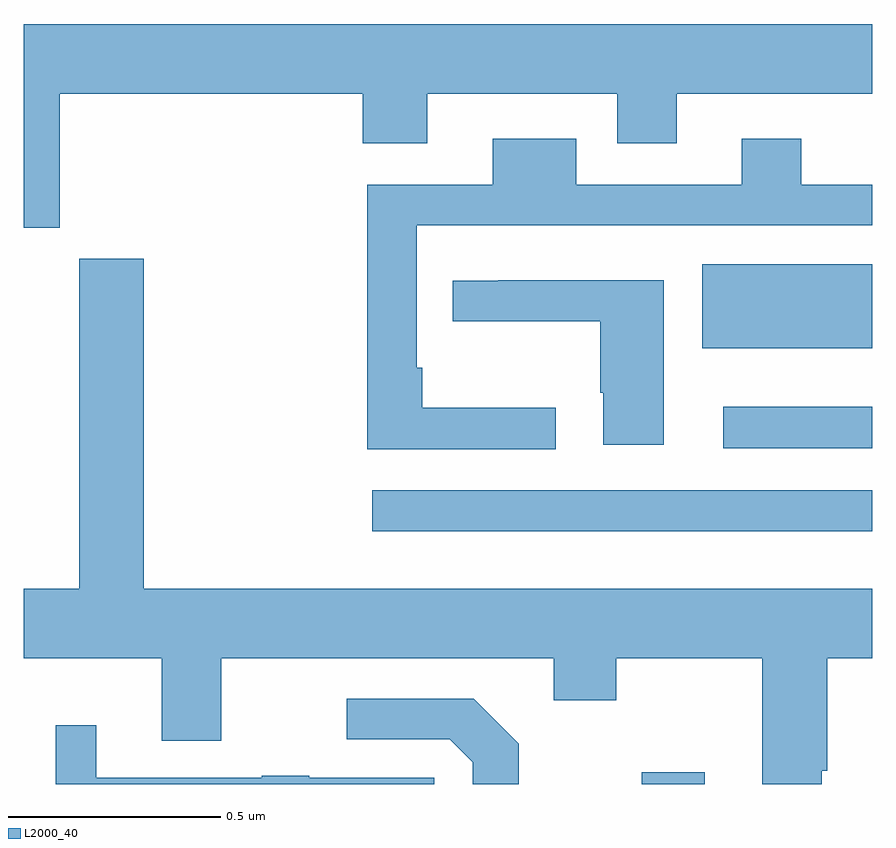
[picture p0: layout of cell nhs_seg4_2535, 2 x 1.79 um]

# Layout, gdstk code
import gdstk
lib = gdstk.Library(unit=1e-6, precision=1e-09)
def R(c, l, rs):  # rectangles x0, y0, x1, y1
    for r in rs: c.add(gdstk.rectangle(r[:2], r[2:], *l))
def P(c, l, *ps):  # polygons
    for p in ps: c.add(gdstk.Polygon(p, *l))
L2000_40 = (2000, 40)

nhs_seg4_2535 = lib.new_cell('nhs_seg4_2535')
R(nhs_seg4_2535, L2000_40, [(143.457,753.9,143.605,753.928), (142.821,754.496,144,754.593), (143.649,754.692,144,754.789), (143.6,754.928,144,755.125)])
P(nhs_seg4_2535, L2000_40, [(142.084,755.528),(142.799,755.528),(142.799,755.411),(142.951,755.411),(142.951,755.528),(143.399,755.528),(143.399,755.411),(143.539,755.411),(143.539,755.528),(144,755.528),(144,755.692),(142,755.692),(142,755.211),(142.084,755.211)],
  [(143.254,754.787),(142.939,754.787),(142.939,754.882),(142.926,754.882),(142.926,755.217),(144,755.217),(144,755.313),(143.833,755.313),(143.833,755.422),(143.693,755.422),(143.693,755.313),(143.302,755.313),(143.302,755.422),(143.105,755.422),(143.105,755.313),(142.81,755.313),(142.81,754.689),(143.254,754.689)],
  [(143.509,755.088),(143.119,755.088),(143.119,755.087),(143.011,755.087),(143.011,754.991),(143.359,754.991),(143.359,754.822),(143.366,754.822),(143.366,754.7),(143.509,754.7)],
  [(142.283,755.139),(142.13,755.139),(142.13,754.36),(142,754.36),(142,754.196),(142.325,754.196),(142.325,754.002),(142.465,754.002),(142.465,754.196),(143.249,754.196),(143.249,754.097),(143.397,754.097),(143.397,754.196),(143.741,754.196),(143.741,753.9),(143.881,753.9),(143.881,753.931),(143.894,753.931),(143.894,754.196),(144,754.196),(144,754.36),(142.283,754.36)],
  [(143.167,753.995),(143.061,754.101),(142.761,754.101),(142.761,754.005),(143.004,754.005),(143.058,753.951),(143.058,753.9),(143.167,753.9)],
  [(142.968,753.915),(142.673,753.915),(142.673,753.92),(142.561,753.92),(142.561,753.915),(142.171,753.915),(142.171,754.039),(142.075,754.039),(142.075,753.9),(142.968,753.9)])

lib.write_gds('nhs_seg4_2535.gds')
